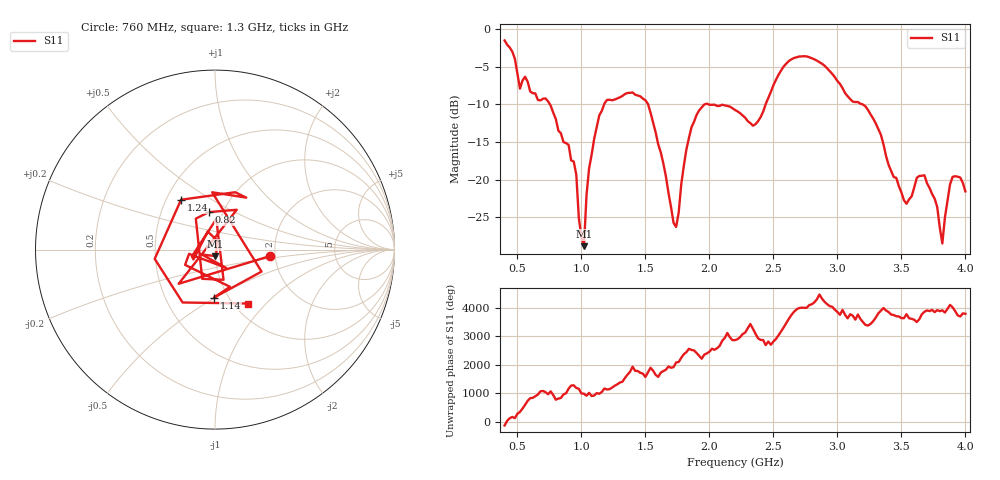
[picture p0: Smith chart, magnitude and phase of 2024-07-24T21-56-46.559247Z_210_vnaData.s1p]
!Created with skrf (http://scikit-rf.org).
# Hz S RI R 50.0
!freq ReS11 ImS11
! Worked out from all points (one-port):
!   181 points, 400 MHz to 4 GHz, reference 50 ohm
!   lowest |S11| = -28.8 dB at 1.02 GHz (marker M1), VSWR 1.08, Z = 49.9 - j3.62 ohm
!   |S11| at or under -10 dB: 1.521 GHz to 1.965 GHz (444.7 MHz wide, 25.5 % of centre); 1.992 GHz to 2.439 GHz (447.9 MHz wide, 20.2 % of centre); 3.194 GHz to end of sweep (the widest 3 of 4)
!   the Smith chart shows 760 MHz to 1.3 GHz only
!   S11 on the Smith chart (normalised r, x): 760 MHz: 1.88, -0.15; 820 MHz: 0.86, +0.37; 1.14 GHz: 0.86, -0.49; 1.24 GHz: 0.59, +0.37; 1.3 GHz: 1.16, -0.79
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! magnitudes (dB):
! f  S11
! 400 MHz  -1.5
! 520 MHz  -7.9
! 760 MHz  -10.2
! 820 MHz  -13.5
! 860 MHz  -15.0
! 940 MHz  -17.6
! 1.02 GHz  -28.8
! 1.06 GHz  -18.5
! 1.14 GHz  -11.4
! 1.24 GHz  -9.5
! 1.3 GHz  -9.1
! 1.52 GHz  -10.0
! 1.72 GHz  -25.7
! 1.76 GHz  -24.4
! 1.82 GHz  -16.0
! 1.9 GHz  -11.4
! 2.2 GHz  -10.8
! 2.36 GHz  -12.6
! 2.66 GHz  -3.9
! 2.88 GHz  -4.6
! 3.1 GHz  -9.3
! 3.28 GHz  -11.9
! 3.56 GHz  -22.6
! 3.68 GHz  -19.4
! 3.78 GHz  -23.6
! 3.82 GHz  -28.5
! 3.9 GHz  -19.6
! 4 GHz  -21.5
